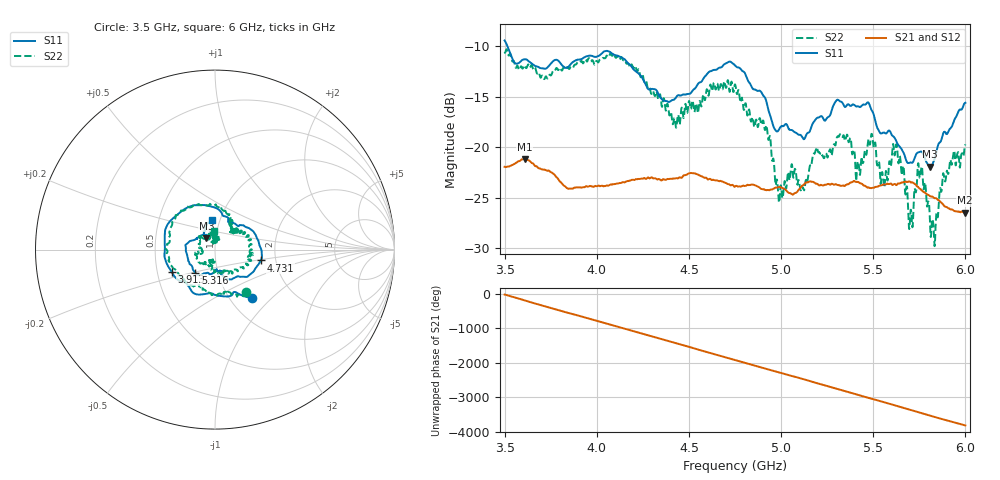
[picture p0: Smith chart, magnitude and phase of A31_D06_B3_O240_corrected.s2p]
! Created with skrf 1.9.0 (http://scikit-rf.org).
# Hz S RI R 50.0
!freq ReS11 ImS11 ReS21 ImS21 ReS12 ImS12 ReS22 ImS22
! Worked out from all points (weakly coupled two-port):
!   1601 points, 3.5 GHz to 6 GHz, reference 50 ohm
!   highest |S21| = -21.16 dB at 3.609 GHz (marker M1); lowest = -26.5 dB at 5.997 GHz (marker M2)
!   lowest |S11| = -21.9 dB at 5.809 GHz (marker M3), VSWR 1.17, Z = 45.1 + j5.84 ohm
!   |S11| at or under -10 dB: 3.515 GHz to end of sweep
!   |S22| runs from -29.8 to -10.3 dB; largest |S21 - S12| = 0.001
!   S11 on the Smith chart (normalised r, x): 3.5 GHz: 1.26, -0.76; 3.913 GHz: 0.59, -0.16; 4.731 GHz: 1.67, -0.22; 5.316 GHz: 0.78, -0.21; 6 GHz: 0.92, +0.31
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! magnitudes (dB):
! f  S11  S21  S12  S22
! 3.5 GHz  -9.4  -21.9  -21.9  -10.6
! 3.609 GHz  -11.3  -21.2  -21.1  -11.9
! 3.913 GHz  -11.3  -24.0  -23.9  -11.5
! 3.917 GHz  -11.3  -24.0  -24.0  -11.5
! 4.141 GHz  -11.2  -23.5  -23.4  -11.3
! 4.334 GHz  -14.7  -23.2  -23.1  -15.3
! 4.422 GHz  -15.3  -23.1  -23.1  -17.1
! 4.731 GHz  -11.6  -23.7  -23.7  -13.5
! 4.75 GHz  -11.9  -23.9  -23.8  -13.8
! 4.912 GHz  -15.1  -24.2  -24.2  -18.3
! 4.997 GHz  -18.0  -24.0  -23.9  -23.9
! 5.167 GHz  -17.8  -23.4  -23.4  -21.4
! 5.316 GHz  -15.4  -23.8  -23.7  -18.9
! 5.417 GHz  -16.0  -23.4  -23.5  -21.4
! 5.484 GHz  -16.0  -24.0  -24.0  -19.5
! 5.584 GHz  -18.4  -23.6  -23.6  -22.0
! 5.634 GHz  -19.8  -23.6  -23.5  -21.3
! 5.703 GHz  -21.5  -23.5  -23.4  -26.2
! 5.755 GHz  -20.5  -24.1  -24.1  -22.8
! 5.809 GHz  -21.9  -24.9  -24.8  -28.2
! 5.997 GHz  -15.6  -26.5  -26.4  -19.9
! 6 GHz  -15.6  -26.4  -26.4  -19.7
